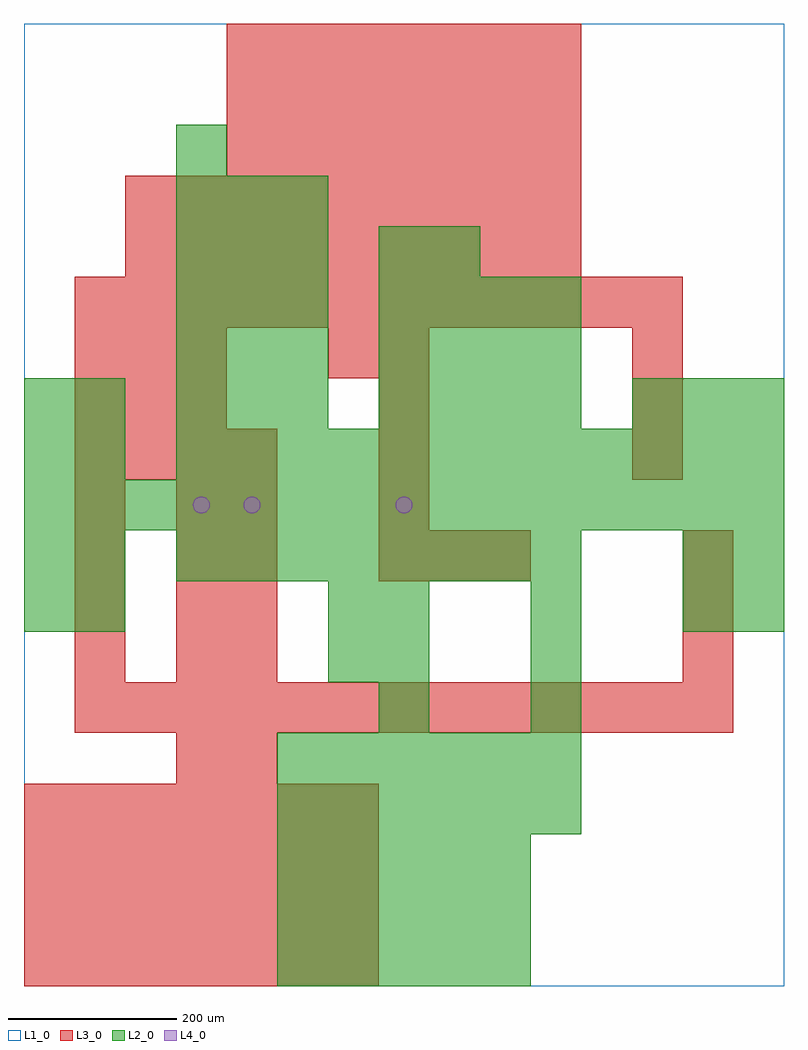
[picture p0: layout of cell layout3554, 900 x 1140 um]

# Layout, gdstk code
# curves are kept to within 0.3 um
import gdstk
lib = gdstk.Library(unit=1e-6, precision=1e-09)
def R(c, l, rs):  # rectangles x0, y0, x1, y1
    for r in rs: c.add(gdstk.rectangle(r[:2], r[2:], *l))
def A(c, l, x, y, w, h, nx, ny, dx, dy):  # array of equal rectangles
    R(c, l, [(x+i*dx, y+j*dy, x+i*dx+w, y+j*dy+h) for i in range(nx) for j in range(ny)])
def P(c, l, *ps):  # polygons
    for p in ps: c.add(gdstk.Polygon(p, *l))
L1_0 = (1, 0)
L2_0 = (2, 0)
L3_0 = (3, 0)
L4_0 = (4, 0)

layout3554 = lib.new_cell('layout3554')
R(layout3554, L1_0, [(0,0,900,1140)])
A(layout3554, L2_0, 300, 0, 60, 60, 5, 3, 60, 60)
A(layout3554, L2_0, 300, 180, 60, 60, 6, 2, 60, 60)
A(layout3554, L2_0, 420, 420, 60, 60, 3, 1, 180, 0)
A(layout3554, L2_0, 180, 480, 60, 60, 8, 1, 60, 0)
A(layout3554, L2_0, 0, 540, 60, 60, 15, 1, 60, 0)
A(layout3554, L2_0, 180, 600, 60, 60, 12, 1, 60, 0)
A(layout3554, L2_0, 180, 660, 60, 60, 3, 5, 60, 60)
A(layout3554, L2_0, 420, 660, 60, 60, 4, 3, 60, 60)
A(layout3554, L2_0, 720, 660, 60, 60, 3, 1, 60, 0)
R(layout3554, L2_0, [(420,300,480,360), (600,300,660,360), (360,360,420,420), (420,360,480,420), (600,360,660,420), (0,420,60,480), (60,420,120,480), (360,420,420,480), (840,420,900,480), (0,480,60,540), (60,480,120,540), (780,480,840,540), (840,480,900,540), (0,600,60,660), (60,600,120,660), (0,660,60,720), (60,660,120,720), (420,840,480,900), (480,840,540,900), (180,960,240,1020)])
A(layout3554, L3_0, 0, 0, 60, 60, 7, 4, 60, 60)
A(layout3554, L3_0, 60, 300, 60, 60, 13, 1, 60, 0)
A(layout3554, L3_0, 60, 360, 60, 60, 1, 4, 0, 60)
A(layout3554, L3_0, 180, 360, 60, 60, 1, 4, 0, 60)
A(layout3554, L3_0, 240, 360, 60, 60, 1, 4, 0, 60)
A(layout3554, L3_0, 780, 360, 60, 60, 1, 3, 0, 60)
A(layout3554, L3_0, 420, 480, 60, 60, 3, 1, 60, 0)
A(layout3554, L3_0, 420, 540, 60, 60, 1, 4, 0, 60)
A(layout3554, L3_0, 60, 600, 60, 60, 4, 1, 60, 0)
A(layout3554, L3_0, 720, 600, 60, 60, 1, 3, 0, 60)
A(layout3554, L3_0, 60, 660, 60, 60, 3, 2, 60, 60)
A(layout3554, L3_0, 60, 780, 60, 60, 12, 1, 60, 0)
A(layout3554, L3_0, 120, 840, 60, 60, 9, 2, 60, 60)
A(layout3554, L3_0, 240, 960, 60, 60, 7, 3, 60, 60)
R(layout3554, L3_0, [(180,240,240,300), (240,240,300,300), (360,720,420,780)])
P(layout3554, L4_0, [(220,570),(219.239,573.827),(217.071,577.071),(213.827,579.239),(210,580),(206.173,579.239),(202.929,577.071),(200.761,573.827),(200,570),(200.761,566.173),(202.929,562.929),(206.173,560.761),(210,560),(213.827,560.761),(217.071,562.929),(219.239,566.173)],
  [(280,570),(279.239,573.827),(277.071,577.071),(273.827,579.239),(270,580),(266.173,579.239),(262.929,577.071),(260.761,573.827),(260,570),(260.761,566.173),(262.929,562.929),(266.173,560.761),(270,560),(273.827,560.761),(277.071,562.929),(279.239,566.173)],
  [(460,570),(459.239,573.827),(457.071,577.071),(453.827,579.239),(450,580),(446.173,579.239),(442.929,577.071),(440.761,573.827),(440,570),(440.761,566.173),(442.929,562.929),(446.173,560.761),(450,560),(453.827,560.761),(457.071,562.929),(459.239,566.173)])

lib.write_gds('layout3554.gds')
